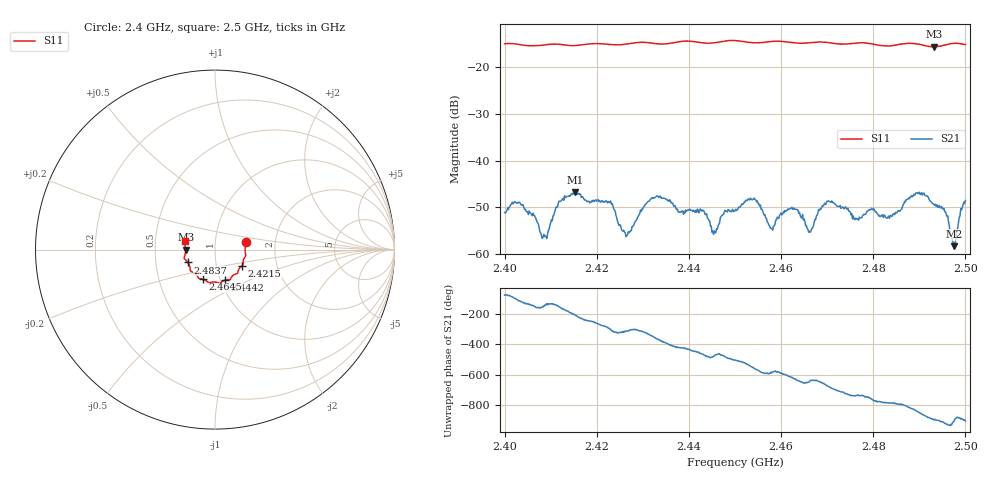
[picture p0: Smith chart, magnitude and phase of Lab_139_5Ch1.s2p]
# Hz S RI R 50
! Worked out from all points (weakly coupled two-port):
!   601 points, 2.4 GHz to 2.5 GHz, reference 50 ohm
!   highest |S21| = -46.75 dB at 2.4153 GHz (marker M1); lowest = -58.3 dB at 2.4975 GHz (marker M2)
!   lowest |S11| = -15.7 dB at 2.4932 GHz (marker M3), VSWR 1.39, Z = 35.9 - j0.0599 ohm
!   |S11| at or under -10 dB: start of sweep to end of sweep
!   S12 and S22 are empty: the file has one direction only
!   S11 on the Smith chart (normalised r, x): 2.4 GHz: 1.41, +0.12; 2.4215 GHz: 1.33, -0.25; 2.4442 GHz: 1.05, -0.37; 2.4645 GHz: 0.83, -0.29; 2.4837 GHz: 0.73, -0.11; 2.5 GHz: 0.71, +0.07
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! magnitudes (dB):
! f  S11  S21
! 2.4 GHz  -15.1  -51.1
! 2.4035 GHz  -15.3  -49.3
! 2.4087 GHz  -15.3  -56.3
! 2.4153 GHz  -15.5  -46.7
! 2.4167 GHz  -15.3  -47.9
! 2.4215 GHz  -15.1  -48.7
! 2.4267 GHz  -15.1  -55.9
! 2.4333 GHz  -15.1  -47.6
! 2.4442 GHz  -15.0  -52.5
! 2.4455 GHz  -14.9  -55.0
! 2.45 GHz  -14.4  -50.7
! 2.4543 GHz  -14.9  -48.3
! 2.458 GHz  -14.6  -54.5
! 2.4645 GHz  -15.0  -52.3
! 2.4667 GHz  -14.8  -54.5
! 2.4705 GHz  -14.9  -48.8
! 2.4833 GHz  -15.6  -51.9
! 2.4837 GHz  -15.5  -51.8
! 2.4895 GHz  -15.1  -46.9
! 2.4932 GHz  -15.7  -49.4
! 2.4975 GHz  -15.0  -58.3
! 2.5 GHz  -15.3  -48.5
